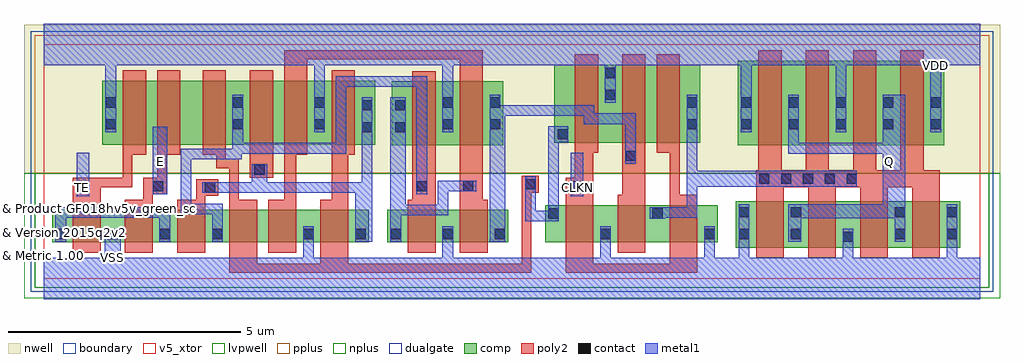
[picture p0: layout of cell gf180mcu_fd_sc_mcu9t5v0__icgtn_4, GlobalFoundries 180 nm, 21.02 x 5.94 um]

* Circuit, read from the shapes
.subckt gf180mcu_fd_sc_mcu9t5v0__icgtn_4 CLKN E Q TE VDD VSS
XM1 VSS TE n1 VSUBS nfet_05v0 w=0.7u l=0.6u
XM2 n1 E VSS VSUBS nfet_05v0 w=0.7u l=0.6u
XM3 n2 n3 n1 VSUBS nfet_05v0 w=0.7u l=0.6u
XM4 n4 n5 n2 VSUBS nfet_05v0 w=0.7u l=0.6u
XM5 VSS n6 n4 VSUBS nfet_05v0 w=0.7u l=0.6u
XM6 n3 n5 VSS VSUBS nfet_05v0 w=0.7u l=0.6u
XM7 VSS n2 n6 VSUBS nfet_05v0 w=0.7u l=0.6u
XM8 n7 n6 VSS VSUBS nfet_05v0 w=0.7u l=0.6u
XM9 VSS CLKN n5 VSUBS nfet_05v0 w=0.8u l=0.6u
XM10 n8 n7 VSS VSUBS nfet_05v0 w=0.8u l=0.6u
XM11 VSS CLKN n8 VSUBS nfet_05v0 w=0.8u l=0.6u
XM12 Q n8 VSS VSUBS nfet_05v0 w=1u l=0.6u m=4
XM13 n9 TE VDD n10 pfet_05v0 w=1.38u l=0.5u
XM14 n11 E n9 n10 pfet_05v0 w=1.38u l=0.5u
XM15 n2 n5 n11 n10 pfet_05v0 w=1.38u l=0.5u
XM16 n12 n3 n2 n10 pfet_05v0 w=1.38u l=0.5u
XM17 VDD n6 n12 n10 pfet_05v0 w=1.38u l=0.5u
XM18 n3 n5 VDD n10 pfet_05v0 w=1.38u l=0.5u
XM19 VDD n2 n6 n10 pfet_05v0 w=1.38u l=0.5u
XM20 n7 n6 VDD n10 pfet_05v0 w=1.38u l=0.5u
XM21 VDD CLKN n5 n10 pfet_05v0 w=1.68u l=0.5u
XM22 n13 n7 VDD n10 pfet_05v0 w=1.68u l=0.5u
XM23 n8 CLKN n13 n10 pfet_05v0 w=1.68u l=0.5u
XM24 Q n8 VDD n10 pfet_05v0 w=1.83u l=0.5u m=4
.ends

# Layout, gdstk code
import gdstk
lib = gdstk.Library(unit=1e-6, precision=1e-09)
def R(c, l, rs):  # rectangles x0, y0, x1, y1
    for r in rs: c.add(gdstk.rectangle(r[:2], r[2:], *l))
def A(c, l, x, y, w, h, nx, ny, dx, dy):  # array of equal rectangles
    R(c, l, [(x+i*dx, y+j*dy, x+i*dx+w, y+j*dy+h) for i in range(nx) for j in range(ny)])
def P(c, l, *ps):  # polygons
    for p in ps: c.add(gdstk.Polygon(p, *l))
boundary = (0, 0)
nwell = (21, 0)
comp = (22, 0)
poly2 = (30, 0)
pplus = (31, 0)
nplus = (32, 0)
contact = (33, 0)
metal1 = (34, 0)
dualgate = (55, 0)
v5_xtor = (112, 1)
lvpwell = (204, 0)

gf180mcu_fd_sc_mcu9t5v0_ = lib.new_cell('gf180mcu_fd_sc_mcu9t5v0__icgtn_4')
R(gf180mcu_fd_sc_mcu9t5v0_, boundary, [(0,0,20.16,5.04)])
R(gf180mcu_fd_sc_mcu9t5v0_, nwell, [(-0.43,2.265,20.59,5.47)])
R(gf180mcu_fd_sc_mcu9t5v0_, comp, [(14.895,0.665,19.735,1.665), (0.18,0.78,6.995,1.48), (7.395,0.78,9.995,1.48), (10.795,0.78,14.515,1.58), (7.495,2.865,9.895,4.245), (14.945,2.865,19.385,4.695), (1.26,2.88,7.135,4.26), (10.995,2.925,14.135,4.605)])
R(gf180mcu_fd_sc_mcu9t5v0_, poly2, [(4.435,2.165,4.935,4.48)])
P(gf180mcu_fd_sc_mcu9t5v0_, poly2, [(0.62,0.56),(0.62,2.17),(1.7,2.17),(1.7,4.48),(2.2,4.48),(2.2,2.66),(1.9,2.66),(1.9,1.97),(1.22,1.97),(1.22,0.56)],
  [(1.74,0.56),(1.74,1.7),(2.14,1.7),(2.14,2.17),(2.44,2.17),(2.44,4.48),(2.94,4.48),(2.94,2.66),(2.64,2.66),(2.64,1.81),(2.34,1.81),(2.34,0.56)],
  [(2.875,0.56),(2.875,1.7),(3.275,1.7),(3.275,2.14),(3.755,2.14),(3.755,1.78),(3.475,1.78),(3.475,0.56)],
  [(7.835,0.56),(7.835,1.7),(7.935,1.7),(7.935,4.465),(8.435,4.465),(8.435,0.56)],
  [(4.835,0.56),(4.835,1.7),(5.175,1.7),(5.175,4.92),(9.455,4.92),(9.455,1.7),(9.555,1.7),(9.555,0.56),(8.955,0.56),(8.955,4.72),(5.675,4.72),(5.675,2.66),(5.435,2.66),(5.435,0.56)],
  [(3.995,0.12),(3.995,2.38),(3.715,2.38),(3.715,2.66),(3.415,2.66),(3.415,4.48),(3.915,4.48),(3.915,2.58),(4.195,2.58),(4.195,1.7),(4.595,1.7),(4.595,0.32),(5.955,0.32),(5.955,1.7),(6.195,1.7),(6.195,4.48),(6.695,4.48),(6.695,2.66),(6.555,2.66),(6.555,0.32),(10.295,0.32),(10.295,2.21),(10.655,2.21),(10.655,1.85),(10.495,1.85),(10.495,0.12)],
  [(12.355,0.56),(12.355,1.8),(12.455,1.8),(12.455,4.825),(12.955,4.825),(12.955,0.56)],
  [(11.235,0.12),(11.235,2.17),(11.435,2.17),(11.435,4.825),(11.935,4.825),(11.935,2.705),(11.835,2.705),(11.835,0.32),(13.475,0.32),(13.475,2.705),(13.195,2.705),(13.195,4.825),(13.695,4.825),(13.695,1.8),(14.075,1.8),(14.075,0.12)],
  [(15.335,0.445),(15.335,2.33),(15.385,2.33),(15.385,4.915),(15.885,4.915),(15.885,2.33),(16.405,2.33),(16.405,4.915),(16.905,4.915),(16.905,2.33),(17.425,2.33),(17.425,4.915),(17.925,4.915),(17.925,2.33),(18.445,2.33),(18.445,4.915),(18.945,4.915),(18.945,2.33),(19.295,2.33),(19.295,0.445),(18.695,0.445),(18.695,1.965),(18.175,1.965),(18.175,0.445),(17.575,0.445),(17.575,1.965),(17.055,1.965),(17.055,0.445),(16.455,0.445),(16.455,1.97),(15.935,1.97),(15.935,0.445)])
R(gf180mcu_fd_sc_mcu9t5v0_, pplus, [(-0.2,2.265,20.36,5.24)])
R(gf180mcu_fd_sc_mcu9t5v0_, nplus, [(-0.2,-0.2,20.36,2.265)])
A(gf180mcu_fd_sc_mcu9t5v0_, contact, 0.25, 0.85, 0.22, 0.22, 3, 1, 1.12, 0)
A(gf180mcu_fd_sc_mcu9t5v0_, contact, 7.465, 0.85, 0.22, 0.22, 3, 1, 1.12, 0)
A(gf180mcu_fd_sc_mcu9t5v0_, contact, 15.405, 2.04, 0.22, 0.22, 5, 1, 0.47, 0)
A(gf180mcu_fd_sc_mcu9t5v0_, contact, 15.015, 3.21, 0.22, 0.22, 5, 2, 1.02, 0.47)
R(gf180mcu_fd_sc_mcu9t5v0_, contact, [(17.205,0.79,17.425,1.01), (3.625,0.85,3.845,1.07), (5.585,0.85,5.805,1.07), (6.705,0.85,6.925,1.07), (11.985,0.85,12.205,1.07), (14.225,0.85,14.445,1.07), (14.965,0.85,15.185,1.07), (16.085,0.85,16.305,1.07), (18.325,0.85,18.545,1.07), (19.445,0.85,19.665,1.07), (10.865,1.29,11.085,1.51), (13.105,1.29,13.325,1.51), (14.965,1.32,15.185,1.54), (16.085,1.32,16.305,1.54), (18.325,1.32,18.545,1.54), (19.445,1.32,19.665,1.54), (3.465,1.85,3.685,2.07), (0.745,1.88,0.965,2.1), (2.35,1.88,2.57,2.1), (8.025,1.88,8.245,2.1), (9.025,1.88,9.245,2.1), (11.385,1.88,11.605,2.1), (10.365,1.92,10.585,2.14), (4.53,2.235,4.75,2.455), (12.525,2.535,12.745,2.755), (11.065,2.995,11.285,3.215), (6.845,3.15,7.065,3.37), (7.565,3.15,7.785,3.37), (1.33,3.21,1.55,3.43), (4.065,3.21,4.285,3.43), (5.825,3.21,6.045,3.43), (8.585,3.21,8.805,3.43), (9.605,3.21,9.825,3.43), (13.845,3.21,14.065,3.43), (6.845,3.62,7.065,3.84), (7.565,3.62,7.785,3.84), (1.33,3.68,1.55,3.9), (4.065,3.68,4.285,3.9), (5.825,3.68,6.045,3.9), (8.585,3.68,8.805,3.9), (9.605,3.68,9.825,3.9), (13.845,3.68,14.065,3.9), (12.085,3.845,12.305,4.065), (12.085,4.315,12.305,4.535)])
R(gf180mcu_fd_sc_mcu9t5v0_, metal1, [(0.71,1.77,0.97,2.71), (11.35,1.77,11.61,2.71), (2.345,1.82,2.65,3.27)])
P(gf180mcu_fd_sc_mcu9t5v0_, metal1, [(0.245,0.79),(0.245,1.535),(2.715,1.535),(2.715,0.79),(2.485,0.79),(2.485,1.305),(0.475,1.305),(0.475,0.79)],
  [(6.7,0.79),(6.7,1.845),(3.405,1.845),(3.405,2.075),(4.47,2.075),(4.47,2.46),(4.81,2.46),(4.81,2.075),(6.84,2.075),(6.84,3.9),(7.07,3.9),(7.07,0.79)],
  [(3.62,0.79),(3.62,1.385),(2.945,1.385),(2.945,2.795),(4.06,2.795),(4.06,3.96),(4.29,3.96),(4.29,2.92),(6.28,2.92),(6.28,4.36),(8.25,4.36),(8.25,1.82),(8.02,1.82),(8.02,4.13),(6.51,4.13),(6.51,2.69),(4.265,2.69),(4.265,2.565),(3.175,2.565),(3.175,1.615),(3.85,1.615),(3.85,0.79)],
  [(7.46,0.79),(7.46,3.9),(7.79,3.9),(7.79,1.59),(8.48,1.59),(8.48,2.105),(9.305,2.105),(9.305,1.875),(8.71,1.875),(8.71,1.36),(7.69,1.36),(7.69,0.79)],
  [(10.36,1.23),(10.36,2.2),(10.59,2.2),(10.59,1.46),(10.86,1.46),(10.86,3.275),(11.29,3.275),(11.29,2.935),(11.09,2.935),(11.09,1.23)],
  [(9.6,0.79),(9.6,3.96),(9.83,3.96),(9.83,3.735),(11.855,3.735),(11.855,3.555),(12.75,3.555),(12.75,2.475),(12.52,2.475),(12.52,3.325),(11.63,3.325),(11.63,3.505),(9.93,3.505),(9.93,0.79)],
  [(13.045,1.285),(13.045,1.535),(13.84,1.535),(13.84,3.96),(14.07,3.96),(14.07,2.32),(17.51,2.32),(17.51,1.98),(14.07,1.98),(14.07,1.305),(13.385,1.305),(13.385,1.285)],
  [(16.03,0.79),(16.03,1.6),(18.07,1.6),(18.07,2.69),(16.03,2.69),(16.03,3.96),(16.26,3.96),(16.26,2.92),(18.07,2.92),(18.07,3.96),(18.55,3.96),(18.55,0.79),(18.32,0.79),(18.32,1.3),(16.31,1.3),(16.31,0.79)],
  [(0,-0.45),(0,0.45),(1.31,0.45),(1.31,1.075),(1.65,1.075),(1.65,0.45),(5.58,0.45),(5.58,1.13),(5.81,1.13),(5.81,0.45),(8.58,0.45),(8.58,1.13),(8.81,1.13),(8.81,0.45),(11.98,0.45),(11.98,1.13),(12.21,1.13),(12.21,0.45),(14.22,0.45),(14.22,1.13),(14.45,1.13),(14.45,0.45),(14.96,0.45),(14.96,1.6),(15.19,1.6),(15.19,0.45),(17.2,0.45),(17.2,1.07),(17.43,1.07),(17.43,0.45),(19.44,0.45),(19.44,1.6),(19.67,1.6),(19.67,0.45),(20.16,0.45),(20.16,-0.45)],
  [(1.325,3.15),(1.325,4.59),(0,4.59),(0,5.49),(20.16,5.49),(20.16,4.59),(19.32,4.59),(19.32,3.15),(19.09,3.15),(19.09,4.59),(17.28,4.59),(17.28,3.15),(17.05,3.15),(17.05,4.59),(15.24,4.59),(15.24,3.15),(15.01,3.15),(15.01,4.59),(12.31,4.59),(12.31,3.785),(12.08,3.785),(12.08,4.59),(8.81,4.59),(8.81,3.15),(8.58,3.15),(8.58,4.59),(6.05,4.59),(6.05,3.15),(5.82,3.15),(5.82,4.59),(1.555,4.59),(1.555,3.15)])
R(gf180mcu_fd_sc_mcu9t5v0_, dualgate, [(-0.28,-0.28,20.44,5.32)])
R(gf180mcu_fd_sc_mcu9t5v0_, v5_xtor, [(0,0,20.16,5.04)])
R(gf180mcu_fd_sc_mcu9t5v0_, lvpwell, [(-0.43,-0.43,20.59,2.265)])
gf180mcu_fd_sc_mcu9t5v0_.add(gdstk.Label('CLKN', (11.48,1.96), layer=34, texttype=10))
gf180mcu_fd_sc_mcu9t5v0_.add(gdstk.Label('E', (2.52,2.52), layer=34, texttype=10))
gf180mcu_fd_sc_mcu9t5v0_.add(gdstk.Label('Q', (18.2,2.52), layer=34, texttype=10))
gf180mcu_fd_sc_mcu9t5v0_.add(gdstk.Label('TE', (0.84,1.96), layer=34, texttype=10))
gf180mcu_fd_sc_mcu9t5v0_.add(gdstk.Label('VDD', (19.205,4.59), layer=34, texttype=10))
gf180mcu_fd_sc_mcu9t5v0_.add(gdstk.Label('VSS', (1.48,0.45), layer=34, texttype=10))
gf180mcu_fd_sc_mcu9t5v0_.add(gdstk.Label('& Vendor GLOBALFOUNDRIES', (0,2), layer=63, texttype=63))
gf180mcu_fd_sc_mcu9t5v0_.add(gdstk.Label('& Product GF018hv5v_green_sc9', (0,1.5), layer=63, texttype=63))
gf180mcu_fd_sc_mcu9t5v0_.add(gdstk.Label('& Version 2015q2v2', (0,1), layer=63, texttype=63))
gf180mcu_fd_sc_mcu9t5v0_.add(gdstk.Label('& Metric 1.00', (0,0.5), layer=63, texttype=63))

lib.write_gds('gf180mcu_fd_sc_mcu9t5v0__icgtn_4.gds')
